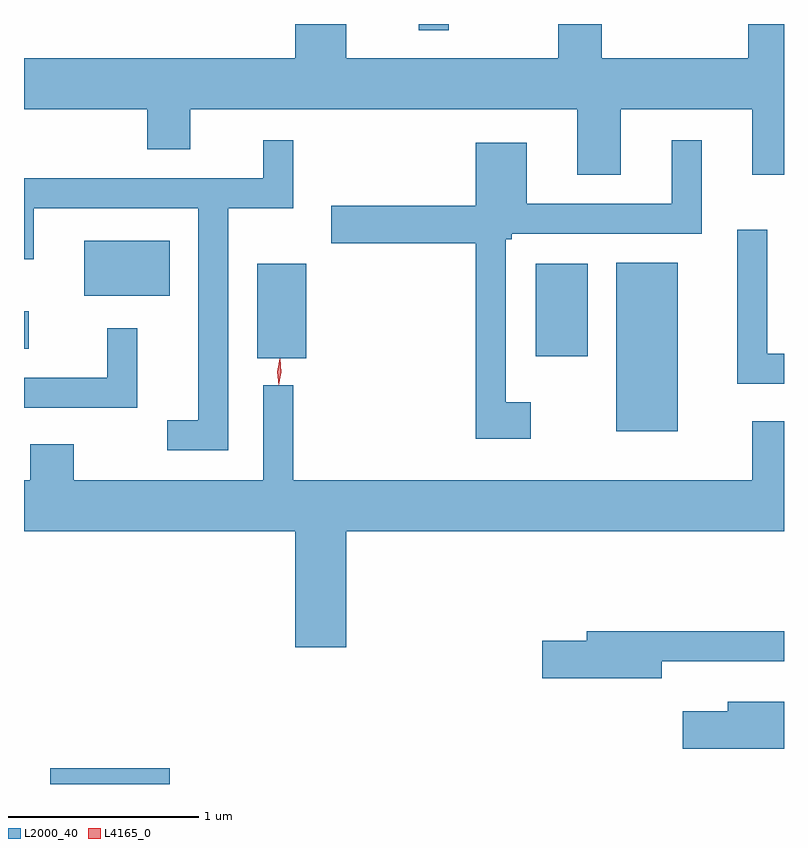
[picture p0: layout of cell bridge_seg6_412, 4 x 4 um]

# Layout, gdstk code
import gdstk
lib = gdstk.Library(unit=1e-6, precision=1e-09)
def R(c, l, rs):  # rectangles x0, y0, x1, y1
    for r in rs: c.add(gdstk.rectangle(r[:2], r[2:], *l))
def P(c, l, *ps):  # polygons
    for p in ps: c.add(gdstk.Polygon(p, *l))
L2000_40 = (2000, 40)
L4165_0 = (4165, 0)

bridge_seg6_412 = lib.new_cell('bridge_seg6_412')
R(bridge_seg6_412, L2000_40, [(973.026,1601.985,973.654,1602.069), (976.006,1603.841,976.329,1604.729), (974.116,1604.226,974.374,1604.724), (975.581,1604.236,975.854,1604.724), (972.888,1604.276,972.914,1604.474), (973.206,1604.556,973.654,1604.844), (974.966,1605.953,975.124,1605.985)])
P(bridge_seg6_412, L2000_40, [(976.029,1605.536),(976.721,1605.536),(976.721,1605.191),(976.888,1605.191),(976.888,1605.985),(976.701,1605.985),(976.701,1605.804),(975.929,1605.804),(975.929,1605.985),(975.701,1605.985),(975.701,1605.804),(974.584,1605.804),(974.584,1605.985),(974.316,1605.985),(974.316,1605.804),(972.888,1605.804),(972.888,1605.536),(973.536,1605.536),(973.536,1605.326),(973.764,1605.326),(973.764,1605.536),(975.801,1605.536),(975.801,1605.191),(976.029,1605.191)],
  [(973.964,1605.016),(974.304,1605.016),(974.304,1605.373),(974.146,1605.373),(974.146,1605.174),(972.888,1605.174),(972.888,1604.748),(972.939,1604.748),(972.939,1605.016),(973.806,1605.016),(973.806,1603.899),(973.643,1603.899),(973.643,1603.741),(973.964,1603.741)],
  [(975.554,1603.994),(975.424,1603.994),(975.424,1604.851),(975.454,1604.851),(975.454,1604.881),(976.454,1604.881),(976.454,1605.373),(976.296,1605.373),(976.296,1605.039),(975.534,1605.039),(975.534,1605.359),(975.266,1605.359),(975.266,1605.029),(974.506,1605.029),(974.506,1604.831),(975.266,1604.831),(975.266,1603.801),(975.554,1603.801)],
  [(976.888,1604.249),(976.799,1604.249),(976.799,1604.903),(976.641,1604.903),(976.641,1604.091),(976.888,1604.091)],
  [(973.484,1604.383),(973.326,1604.383),(973.326,1604.124),(972.888,1604.124),(972.888,1603.966),(973.484,1603.966)],
  [(974.584,1603.316),(976.888,1603.316),(976.888,1603.894),(976.721,1603.894),(976.721,1603.584),(974.304,1603.584),(974.304,1604.083),(974.146,1604.083),(974.146,1603.584),(973.149,1603.584),(973.149,1603.774),(972.921,1603.774),(972.921,1603.584),(972.888,1603.584),(972.888,1603.316),(974.316,1603.316),(974.316,1602.706),(974.584,1602.706)],
  [(976.244,1602.631),(976.888,1602.631),(976.888,1602.789),(975.851,1602.789),(975.851,1602.739),(975.616,1602.739),(975.616,1602.541),(976.244,1602.541)],
  [(976.888,1602.419),(976.591,1602.419),(976.591,1602.369),(976.356,1602.369),(976.356,1602.171),(976.888,1602.171)])
P(bridge_seg6_412, L4165_0, [(974.228,1604.085),(974.228,1604.085),(974.222,1604.154),(974.235,1604.222),(974.236,1604.222),(974.236,1604.222),(974.242,1604.153),(974.229,1604.085)],
  [(974.228,1604.088),(974.228,1604.088),(974.221,1604.154),(974.233,1604.219),(974.233,1604.219),(974.234,1604.219),(974.241,1604.153),(974.229,1604.088)])

lib.write_gds('bridge_seg6_412.gds')
